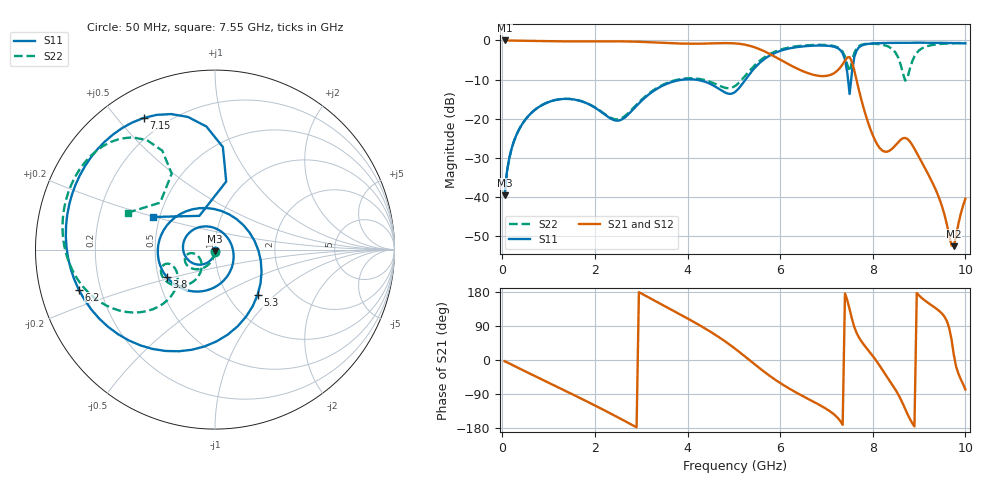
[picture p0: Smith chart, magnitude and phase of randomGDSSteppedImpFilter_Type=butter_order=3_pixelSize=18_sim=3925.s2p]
! freq	dB(S11)	phase(S11)	dB(S12)	phase(S12)
!  dB(S21)	phase(S21)	dB(S22)	phase(S22)
!S-par simulation data
#  GHz  S  DB  R 50
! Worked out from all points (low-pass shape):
!   200 points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, 50 MHz to 10 GHz, reference 50 ohm
!   highest |S21| = -0.01 dB at 50 MHz (marker M1); lowest = -52.5 dB at 9.75 GHz (marker M2)
!   |S21| within 3 dB of the highest: start of sweep to 5.699 GHz
!   lowest |S11| = -39.5 dB at 50 MHz (marker M3), VSWR 1.02, Z = 49.9 - j1.06 ohm
!   |S11| at or under -10 dB: start of sweep to 3.904 GHz; 4.168 GHz to 5.25 GHz (1.083 GHz wide, 23 % of centre); 7.466 GHz to 7.533 GHz (67.37 MHz wide, 0.898 % of centre)
!   |S22| runs from -39.5 to -0.6 dB; largest |S21 - S12| = 0
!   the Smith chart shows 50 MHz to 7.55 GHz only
!   S11 on the Smith chart (normalised r, x): 50 MHz: 1.00, -0.02; 3.8 GHz: 0.55, -0.19; 5.3 GHz: 1.36, -0.78; 6.2 GHz: 0.12, -0.14; 7.15 GHz: 0.12, +0.59; 7.55 GHz: 0.46, +0.20
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0.05  -39.51 -92.7  -0.01 -3.1  -0.01 -3.1  -39.50 -91.7
0.55  -19.47 -129.3  -0.09 -33.2  -0.09 -33.2  -19.45 -118.1
1.75  -15.69 137.8  -0.24 -104.7  -0.24 -104.7  -15.67 -168.0
2.65  -19.64 -9.9  -0.25 -161.3  -0.25 -161.3  -19.26 -133.6
3.4  -11.93 -112.5  -0.58 149.4  -0.58 149.4  -11.72 -129.9
3.8  -10.19 -150.4  -0.77 123.0  -0.77 123.0  -9.98 -143.8
4.5  -11.15 134.3  -0.77 74.2  -0.77 74.2  -10.61 -163.6
5.05  -12.93 12.5  -0.78 27.7  -0.78 27.7  -11.44 -140.9
5.3  -9.20 -46.9  -1.24 3.5  -1.24 3.5  -8.28 -133.2
5.75  -4.04 -116.0  -3.31 -39.7  -3.31 -39.7  -3.64 -150.1
6.2  -2.04 -163.6  -6.20 -75.7  -6.20 -75.7  -1.79 -174.4
6.7  -1.34 155.1  -8.72 -108.8  -8.72 -108.8  -1.16 161.1
7.15  -1.57 118.5  -8.45 -142.2  -8.45 -142.2  -1.41 137.4
7.45  -8.30 80.6  -4.35 157.5  -4.35 157.5  -6.25 119.7
7.55  -8.14 152.4  -5.44 108.8  -5.44 108.8  -5.58 156.9
7.8  -1.13 114.5  -17.16 41.6  -17.16 41.6  -0.97 133.0
8.35  -0.64 74.6  -28.23 -52.3  -28.23 -52.3  -1.65 82.7
8.6  -0.61 60.8  -25.38 -102.7  -25.38 -102.7  -6.07 19.5
8.75  -0.59 53.0  -25.17 -142.8  -25.17 -142.8  -9.53 -103.1
9  -0.58 40.3  -29.82 170.2  -29.82 170.2  -2.55 161.2
9.75  -0.67 5.0  -52.53 13.8  -52.53 13.8  -0.71 103.5
10  -0.75 -5.8  -40.43 -77.9  -40.43 -77.9  -0.65 92.9
